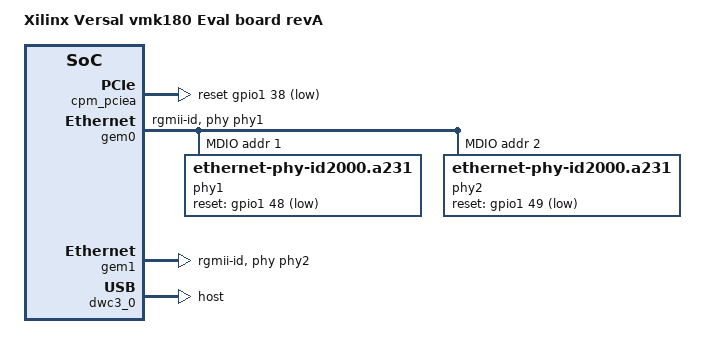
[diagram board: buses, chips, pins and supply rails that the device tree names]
// SPDX-License-Identifier: GPL-2.0
/*
 * dts file for Xilinx Versal vmk180 revA
 *
 * (C) Copyright 2019-2022 Xilinx, Inc.
 * (C) Copyright 2022-2025 Advanced Micro Devices, Inc. All Rights Reserved.
 *
 * Michal Simek <michal.simek@amd.com>
 */

#include "include/gpio/gpio.h"

/ {
	compatible = "xlnx,versal-vmk180-revA", "xlnx,versal";
	model = "Xilinx Versal vmk180 Eval board revA";


	chosen {
		bootargs = "console=ttyAMA0 earlycon=pl011,mmio32,0xFF000000,115200n8";
		stdout-path = "serial0:115200";
	};

	aliases {
		serial0 = &serial0;
		serial2 = &dcc;
		ethernet0 = &gem0;
		ethernet1 = &gem1;
		i2c0 = &i2c0;
		i2c1 = &i2c1;
		mmc0 = &sdhci1;
		spi0 = &qspi;
		usb0 = &usb0;
		rtc0 = &rtc;
	};
};

/* PMC_MIO 0 -12 - configuration header QSPI/OSPI/EMMC */
/* FIXME PMC_MIO37 ZU4_TRIGGER/PMC_MIO37/38 PCIE */
&cpm_pciea {
	reset-gpios = <&gpio1 38 GPIO_ACTIVE_LOW>;
};


&sdhci1 { /* PMC_MIO26-36/51 */
	xlnx,mio-bank = <1>;
	no-1-8-v;
};


&gem0 { /* PMC_MIO_48, LPD_MIO0-11/24/25 */
	phy-handle = <&phy1>; /* u198 */
	phy-mode = "rgmii-id";
	mdio: mdio {
		#address-cells = <1>;
		#size-cells = <0>;

		phy1: ethernet-phy@1 { /* u198 */
			#phy-cells = <1>;
			compatible = "ethernet-phy-id2000.a231";
			reg = <1>;
			ti,rx-internal-delay = <0xb>;
			ti,tx-internal-delay = <0xa>;
			ti,fifo-depth = <1>;
			ti,dp83867-rxctrl-strap-quirk;
			reset-assert-us = <100>;
			reset-deassert-us = <280>;
			reset-gpios = <&gpio1 48 GPIO_ACTIVE_LOW>;
		};
		phy2: ethernet-phy@2 { /* u134 */
			#phy-cells = <1>;
			compatible = "ethernet-phy-id2000.a231";
			reg = <2>;
			ti,rx-internal-delay = <0xb>;
			ti,tx-internal-delay = <0xa>;
			ti,fifo-depth = <1>;
			ti,dp83867-rxctrl-strap-quirk;
			reset-assert-us = <100>;
			reset-deassert-us = <280>;
			reset-gpios = <&gpio1 49 GPIO_ACTIVE_LOW>;
		};
	};
};

&gem1 { /* PMC_MIO_49, LPD_MIO12-23 */
	phy-handle = <&phy2>; /* u134 */
	phy-mode = "rgmii-id";
};


&dwc3_0 { /* USB 2.0 host */
	dr_mode = "host";
	maximum-speed = "high-speed";
	snps,dis_u2_susphy_quirk;
	snps,dis_u3_susphy_quirk;
	snps,usb3_lpm_capable;
};
